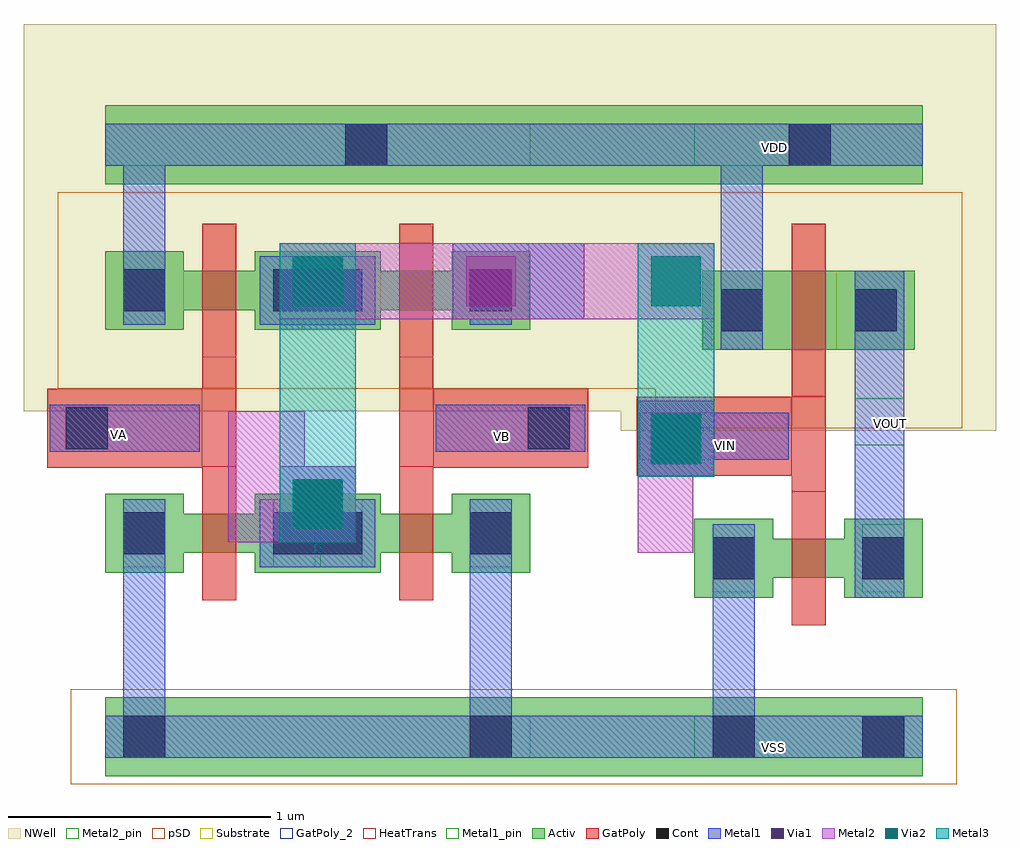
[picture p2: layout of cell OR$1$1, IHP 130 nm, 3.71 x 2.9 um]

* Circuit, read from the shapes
.subckt OR$1$1 VA VB VDD VIN VOUT VSS
XM1 VIN VA VSS VSS sg13_lv_nmos w=0.15u l=0.13u
XM2 VSS VB VIN VSS sg13_lv_nmos w=0.15u l=0.13u
XM3 VOUT VIN VSS VSS sg13_lv_nmos w=0.15u l=0.13u
XM4 n1 VA VDD VDD sg13_lv_pmos w=0.15u l=0.13u
XM5 VIN VB n1 VDD sg13_lv_pmos w=0.15u l=0.13u
XM6 VOUT VIN VDD VDD sg13_lv_pmos w=0.3u l=0.13u
.ends

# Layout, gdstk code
from math import pi, radians
import gdstk
lib = gdstk.Library(unit=1e-6, precision=5e-09)
def R(c, l, rs):  # rectangles x0, y0, x1, y1
    for r in rs: c.add(gdstk.rectangle(r[:2], r[2:], *l))
Activ = (1, 0)
GatPoly = (5, 0)
GatPoly_2 = (5, 2)
Cont = (6, 0)
Metal1 = (8, 0)
Metal1_pin = (8, 2)
Metal2 = (10, 0)
Metal2_pin = (10, 2)
pSD = (14, 0)
Via1 = (19, 0)
Via2 = (29, 0)
Metal3 = (30, 0)
NWell = (31, 0)
Substrate = (40, 0)
HeatTrans = (51, 0)

via2_constraint_5_1 = lib.new_cell('Via2_constraint$5$1')
R(via2_constraint_5_1, Metal2, [(0,-0.055,0.29,0.235)])
R(via2_constraint_5_1, Via2, [(0.05,-0.005,0.24,0.185)])
R(via2_constraint_5_1, Metal3, [(0,-0.055,0.29,0.235)])

via1_constraint_5_1 = lib.new_cell('Via1_constraint$5$1')
R(via1_constraint_5_1, Metal1, [(0,-0.055,0.29,0.235)])
R(via1_constraint_5_1, Metal2, [(0,-0.055,0.29,0.235)])
R(via1_constraint_5_1, Via1, [(0.05,-0.005,0.24,0.185)])

via1_constraint_1_3_1 = lib.new_cell('Via1_constraint$1$3$1')
R(via1_constraint_1_3_1, Metal1, [(0,0,0.29,0.29)])
R(via1_constraint_1_3_1, Metal2, [(0,0,0.29,0.29)])
R(via1_constraint_1_3_1, Via1, [(0.05,0.05,0.24,0.24)])

via2_constraint_1_3_1 = lib.new_cell('Via2_constraint$1$3$1')
R(via2_constraint_1_3_1, Metal2, [(0,0,0.29,0.29)])
R(via2_constraint_1_3_1, Via2, [(0.05,0.05,0.24,0.24)])
R(via2_constraint_1_3_1, Metal3, [(0,0,0.29,0.29)])

nmos_6_1 = lib.new_cell('nmos$6$1')
R(nmos_6_1, Activ, [(0,0,0.3,0.3), (0.57,0,0.87,0.3), (0,0.075,0.87,0.225)])
R(nmos_6_1, GatPoly, [(0.37,-0.105,0.5,0.405)])
R(nmos_6_1, GatPoly_2, [(0.37,-0.105,0.5,0.405)])
R(nmos_6_1, Cont, [(0.07,0.07,0.23,0.23), (0.64,0.07,0.8,0.23)])
R(nmos_6_1, Metal1, [(0.07,0.02,0.23,0.28), (0.64,0.02,0.8,0.28)])
R(nmos_6_1, Metal1_pin, [(0.07,0.02,0.23,0.28), (0.64,0.02,0.8,0.28)])
R(nmos_6_1, HeatTrans, [(0.37,-0.105,0.5,0.405)])
nmos_6_1.add(gdstk.Label('nmos', (0.435,0.15), layer=63, texttype=0))
nmos_6_1.add(gdstk.Label('nmos', (0.435,0.15), layer=51, texttype=0))

pmos_4_1 = lib.new_cell('pmos$4$1')
R(pmos_4_1, Activ, [(0,0,0.3,0.3), (0.57,0,0.87,0.3), (0,0.075,0.87,0.225)])
R(pmos_4_1, GatPoly, [(0.37,-0.105,0.5,0.405), (0.37,-0.105,0.5,0.405)])
R(pmos_4_1, Cont, [(0.07,0.07,0.23,0.23), (0.64,0.07,0.8,0.23)])
R(pmos_4_1, Metal1, [(0.07,0.02,0.23,0.28), (0.07,0.02,0.23,0.28), (0.64,0.02,0.8,0.28), (0.64,0.02,0.8,0.28)])
R(pmos_4_1, pSD, [(-0.18,-0.225,1.05,0.525)])
R(pmos_4_1, NWell, [(-0.345,-0.31,1.18,0.61)])
R(pmos_4_1, Substrate, [(0.57,0,0.87,0.3)])
R(pmos_4_1, HeatTrans, [(0.37,-0.105,0.5,0.405)])
pmos_4_1.add(gdstk.Label('pmos', (0.435,0.15), layer=63, texttype=0))
pmos_4_1.add(gdstk.Label('pmos', (0.435,0.15), layer=51, texttype=0))

nor_1_1 = lib.new_cell('NOR$1$1')
R(nor_1_1, Activ, [(0.31,-0.185,1.93,0.115), (0.31,2.07,1.93,2.37)])
R(nor_1_1, GatPoly, [(0.09,0.99,0.68,1.29), (1.56,0.99,2.15,1.29), (0.68,0.995,0.81,1.41), (1.43,0.995,1.56,1.41)])
R(nor_1_1, GatPoly_2, [(0.09,0.99,0.68,1.29), (1.56,0.99,2.15,1.29)])
R(nor_1_1, Cont, [(0.38,-0.115,0.54,0.045), (1.7,-0.115,1.86,0.045), (0.95,0.66,1.29,0.82), (0.16,1.06,0.32,1.22), (1.92,1.06,2.08,1.22), (0.95,1.585,1.29,1.745), (0.855,2.14,1.015,2.3)])
R(nor_1_1, Metal1, [(0.31,-0.115,1.93,0.045), (0.9,0.61,1.34,0.87), (0.1,1.05,0.67,1.23), (1.57,1.05,2.14,1.23), (0.9,1.535,1.34,1.795), (0.105,1.555,0.315,1.845), (0.31,2.14,1.93,2.3)])
R(nor_1_1, Metal1_pin, [(0.31,-0.115,1.93,0.045), (0.1,1.05,0.67,1.23), (1.57,1.05,2.14,1.23), (0.31,2.14,1.93,2.3)])
R(nor_1_1, Metal2, [(1.17,0.705,1.46,1.205)])
R(nor_1_1, Metal2_pin, [(0.315,1.555,0.605,1.845)])
R(nor_1_1, pSD, [(0.18,-0.215,2.06,0.145)])
R(nor_1_1, NWell, [(-0.035,2.125,2.24,2.68)])
nor_1_1.add(gdstk.FlexPath([(1.78,1.795),(1.78,2.14)], 0.16, ends="flush", simple_path=True, layer=8, datatype=0))  # Metal1
nor_1_1.add(gdstk.FlexPath([(0.46,0.61),(0.46,0.26),(0.46,0.045)], 0.16, ends="flush", simple_path=True, layer=8, datatype=0))  # Metal1
nor_1_1.add(gdstk.FlexPath([(1.78,0.61),(1.78,0.045)], 0.16, ends="flush", simple_path=True, layer=8, datatype=0))  # Metal1
nor_1_1.add(gdstk.FlexPath([(0.605,1.7),(0.975,1.7)], 0.29, ends="flush", simple_path=True, layer=10, datatype=0))  # Metal2
nor_1_1.add(gdstk.FlexPath([(1.12,0.885),(1.12,1.555)], 0.29, ends="flush", simple_path=True, layer=30, datatype=0))  # Metal3
nor_1_1.add(gdstk.Reference(via1_constraint_1_3_1, (0.975,0.705)))
nor_1_1.add(gdstk.Reference(via2_constraint_1_3_1, (0.975,0.705)))
nor_1_1.add(gdstk.Reference(via2_constraint_1_3_1, (0.975,1.555)))
nor_1_1.add(gdstk.Reference(via1_constraint_1_3_1, (0.315,1.555)))
nor_1_1.add(gdstk.Reference(nmos_6_1, (1.06,0.59)))
nor_1_1.add(gdstk.Reference(nmos_6_1, (0.31,0.59)))
nor_1_1.add(gdstk.Reference(pmos_4_1, (1.06,1.515)))
nor_1_1.add(gdstk.Reference(pmos_4_1, (0.31,1.515)))
nor_1_1.add(gdstk.Label('VB', (0.205,1.14), layer=8, texttype=25))
nor_1_1.add(gdstk.Label('VA', (1.99,1.125), layer=8, texttype=25))
nor_1_1.add(gdstk.Label('VDD', (0.605,2.215), layer=8, texttype=25))
nor_1_1.add(gdstk.Label('VSS', (0.6,-0.065), layer=8, texttype=25))
nor_1_1.add(gdstk.Label('VOUT', (0.325,1.555), layer=10, texttype=25))

nmos_1_3_1 = lib.new_cell('nmos$1$3$1')
R(nmos_1_3_1, Activ, [(0,-0.025,0.3,0.275), (0.57,-0.025,0.87,0.275), (0,0.05,0.87,0.2)])
R(nmos_1_3_1, GatPoly, [(0.37,-0.13,0.5,0.38)])
R(nmos_1_3_1, GatPoly_2, [(0.37,-0.13,0.5,0.38)])
R(nmos_1_3_1, Cont, [(0.07,0.045,0.23,0.205), (0.64,0.045,0.8,0.205)])
R(nmos_1_3_1, Metal1, [(0.07,-0.005,0.23,0.255), (0.64,-0.005,0.8,0.255)])
R(nmos_1_3_1, Metal1_pin, [(0.07,-0.005,0.23,0.255), (0.64,-0.005,0.8,0.255)])
R(nmos_1_3_1, HeatTrans, [(0.37,-0.13,0.5,0.38)])
nmos_1_3_1.add(gdstk.Label('nmos', (0.435,0.125), layer=63, texttype=0))
nmos_1_3_1.add(gdstk.Label('nmos', (0.435,0.125), layer=51, texttype=0))

pmos_1_4_1 = lib.new_cell('pmos$1$4$1')
R(pmos_1_4_1, Activ, [(0,0,0.81,0.3), (0,0,0.3,0.3), (0.51,0,0.81,0.3)])
R(pmos_1_4_1, GatPoly, [(0.34,-0.18,0.47,0.48), (0.34,-0.18,0.47,0.48)])
R(pmos_1_4_1, Cont, [(0.07,0.07,0.23,0.23), (0.58,0.07,0.74,0.23)])
R(pmos_1_4_1, Metal1, [(0.07,0,0.23,0.3), (0.07,0,0.23,0.3), (0.58,0,0.74,0.3), (0.58,0,0.74,0.3)])
R(pmos_1_4_1, pSD, [(-0.18,-0.3,0.99,0.6)])
R(pmos_1_4_1, NWell, [(-0.31,-0.31,1.12,0.61)])
R(pmos_1_4_1, Substrate, [(0.51,0,0.81,0.3)])
R(pmos_1_4_1, HeatTrans, [(0.34,-0.18,0.47,0.48)])
pmos_1_4_1.add(gdstk.Label('pmos', (0.405,0.15), layer=63, texttype=0))
pmos_1_4_1.add(gdstk.Label('pmos', (0.405,0.15), layer=51, texttype=0))

inv_d1_4_1 = lib.new_cell('INV_D1$4$1')
R(inv_d1_4_1, Activ, [(0.28,-0.12,1.15,0.18), (0.28,2.135,1.15,2.435)])
R(inv_d1_4_1, GatPoly, [(0.06,1.025,0.65,1.325), (0.65,1.11,0.78,1.325)])
R(inv_d1_4_1, GatPoly_2, [(0.06,1.025,0.65,1.325)])
R(inv_d1_4_1, Cont, [(0.35,-0.05,0.51,0.11), (0.92,-0.05,1.08,0.11), (0.13,1.095,0.29,1.255), (0.64,2.205,0.8,2.365)])
R(inv_d1_4_1, Metal1, [(0.28,-0.05,1.15,0.11), (0.07,1.085,0.64,1.265), (0.28,2.205,1.15,2.365)])
R(inv_d1_4_1, Metal1_pin, [(0.28,-0.05,1.15,0.11), (0.07,1.085,0.64,1.265), (0.89,1.14,1.08,1.32), (0.28,2.205,1.15,2.365)])
R(inv_d1_4_1, pSD, [(0.15,-0.15,1.28,0.21)])
R(inv_d1_4_1, NWell, [(0,2.115,1.43,2.745)])
R(inv_d1_4_1, Substrate, [(0.82,1.505,1.12,1.805)])
inv_d1_4_1.add(gdstk.FlexPath([(0.46,1.805),(0.46,2.365)], 0.16, ends="flush", simple_path=True, layer=8, datatype=0))  # Metal1
inv_d1_4_1.add(gdstk.FlexPath([(0.985,0.56),(0.985,1.805)], 0.19, ends="flush", simple_path=True, layer=8, datatype=0))  # Metal1
inv_d1_4_1.add(gdstk.FlexPath([(0.43,0.84),(0.43,0.11)], 0.16, ends="flush", simple_path=True, layer=8, datatype=0))  # Metal1
inv_d1_4_1.add(gdstk.FlexPath([(0.715,1.11),(0.715,0.965)], 0.13, ends="flush", simple_path=True, layer=5, datatype=0))  # GatPoly
inv_d1_4_1.add(gdstk.Reference(nmos_1_3_1, (0.28,0.585)))
inv_d1_4_1.add(gdstk.Reference(pmos_1_4_1, (0.31,1.505)))
inv_d1_4_1.add(gdstk.Label('nmos', (0.715,0.63), layer=63, texttype=0))
inv_d1_4_1.add(gdstk.Label('VDD', (0.655,2.28), layer=8, texttype=25))
inv_d1_4_1.add(gdstk.Label('VOUT', (1.03,1.165), layer=8, texttype=25))
inv_d1_4_1.add(gdstk.Label('VIN', (0.285,1.12), layer=8, texttype=25))
inv_d1_4_1.add(gdstk.Label('VSS', (0.65,0.025), layer=8, texttype=25))

or_1_1 = lib.new_cell('OR$1$1')
R(or_1_1, Activ, [(1.93,-0.09,2.555,0.21), (1.93,2.165,2.555,2.465)])
R(or_1_1, Metal1, [(1.93,-0.02,2.555,0.14), (1.93,2.235,2.555,2.395)])
R(or_1_1, Metal2, [(2.34,0.76,2.55,1.05)])
R(or_1_1, pSD, [(2.06,-0.12,2.425,0.24), (2.11,1.385,2.405,2.135)])
or_1_1.add(gdstk.FlexPath([(1.925,1.795),(2.34,1.795)], 0.29, ends="flush", simple_path=True, layer=10, datatype=0))  # Metal2
or_1_1.add(gdstk.FlexPath([(2.485,1.65),(2.485,1.34)], 0.29, ends="flush", simple_path=True, layer=30, datatype=0))  # Metal3
or_1_1.add(gdstk.Reference(via2_constraint_5_1, (2.34,1.705)))
or_1_1.add(gdstk.Reference(via1_constraint_5_1, (2.34,1.105)))
or_1_1.add(gdstk.Reference(via2_constraint_5_1, (2.34,1.105)))
or_1_1.add(gdstk.Reference(nor_1_1, (2.24,0.095), rotation=pi, x_reflection=True))
or_1_1.add(gdstk.Reference(inv_d1_4_1, (2.275,0.03)))
or_1_1.add(gdstk.Label('VDD', (2.86,2.305), layer=8, texttype=25))
or_1_1.add(gdstk.Label('VOUT', (3.3,1.255), layer=8, texttype=25))
or_1_1.add(gdstk.Label('VIN', (2.675,1.17), layer=8, texttype=25))
or_1_1.add(gdstk.Label('VB', (1.82,1.205), layer=8, texttype=25))
or_1_1.add(gdstk.Label('VA', (0.36,1.21), layer=8, texttype=25))
or_1_1.add(gdstk.Label('VSS', (2.855,0.02), layer=8, texttype=25))

lib.write_gds('OR_1_1.gds')
